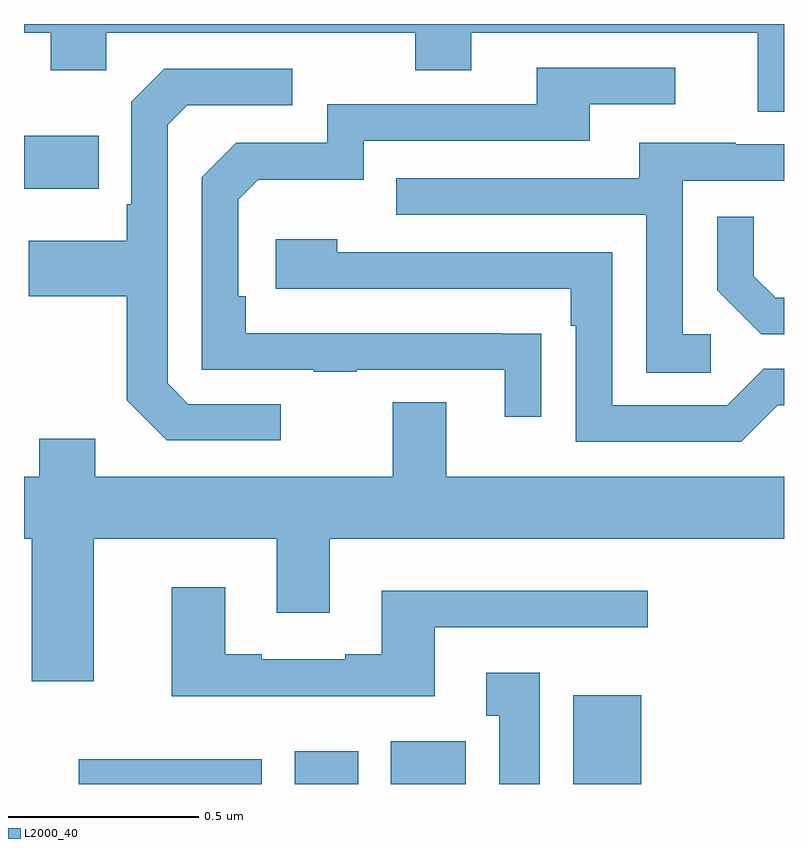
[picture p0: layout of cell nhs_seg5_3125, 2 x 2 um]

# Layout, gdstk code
import gdstk
lib = gdstk.Library(unit=1e-6, precision=1e-09)
def R(c, l, rs):  # rectangles x0, y0, x1, y1
    for r in rs: c.add(gdstk.rectangle(r[:2], r[2:], *l))
def P(c, l, *ps):  # polygons
    for p in ps: c.add(gdstk.Polygon(p, *l))
L2000_40 = (2000, 40)

nhs_seg5_3125 = lib.new_cell('nhs_seg5_3125')
R(nhs_seg5_3125, L2000_40, [(153.144,838.799,153.625,838.864), (153.713,838.799,153.88,838.885), (153.965,838.799,154.162,838.912), (154.445,838.799,154.624,839.032), (153,840.365,153.197,840.505)])
P(nhs_seg5_3125, L2000_40, [(153,840.776),(153.07,840.776),(153.07,840.677),(153.216,840.677),(153.216,840.776),(154.03,840.776),(154.03,840.677),(154.177,840.677),(154.177,840.776),(154.931,840.776),(154.931,840.568),(155,840.568),(155,840.799),(153,840.799)],
  [(154.361,839.984),(154.259,839.984),(154.259,839.985),(153.584,839.985),(153.584,840.082),(153.564,840.082),(153.564,840.336),(153.617,840.389),(153.894,840.389),(153.894,840.492),(154.489,840.492),(154.489,840.588),(154.714,840.588),(154.714,840.684),(154.349,840.684),(154.349,840.588),(153.798,840.588),(153.798,840.486),(153.558,840.486),(153.468,840.396),(153.468,839.889),(153.763,839.889),(153.763,839.884),(153.875,839.884),(153.875,839.889),(154.265,839.889),(154.265,839.766),(154.361,839.766)],
  [(153.676,839.799),(153.432,839.799),(153.378,839.853),(153.378,840.534),(153.429,840.585),(153.706,840.585),(153.706,840.681),(153.369,840.681),(153.282,840.594),(153.282,840.325),(153.27,840.325),(153.27,840.229),(153.013,840.229),(153.013,840.082),(153.27,840.082),(153.27,839.809),(153.375,839.703),(153.676,839.703)],
  [(154.807,839.982),(154.734,839.982),(154.734,840.387),(155,840.387),(155,840.483),(154.873,840.483),(154.873,840.487),(154.619,840.487),(154.619,840.393),(153.979,840.393),(153.979,840.297),(154.638,840.297),(154.638,839.881),(154.807,839.881)],
  [(155,840.078),(154.978,840.078),(154.921,840.135),(154.921,840.292),(154.824,840.292),(154.824,840.098),(154.94,839.982),(155,839.982)],
  [(154.983,839.796),(155,839.796),(155,839.892),(154.947,839.892),(154.851,839.796),(154.548,839.796),(154.548,840.198),(153.824,840.198),(153.824,840.232),(153.663,840.232),(153.663,840.102),(154.439,840.102),(154.439,840.005),(154.452,840.005),(154.452,839.7),(154.887,839.7)],
  [(153.184,839.444),(153.665,839.444),(153.665,839.25),(153.805,839.25),(153.805,839.444),(155,839.444),(155,839.608),(154.111,839.608),(154.111,839.803),(153.971,839.803),(153.971,839.608),(153.187,839.608),(153.187,839.707),(153.04,839.707),(153.04,839.608),(153,839.608),(153,839.444),(153.02,839.444),(153.02,839.07),(153.184,839.07)],
  [(154.081,839.211),(154.642,839.211),(154.642,839.308),(153.941,839.308),(153.941,839.14),(153.845,839.14),(153.845,839.127),(153.625,839.127),(153.625,839.14),(153.529,839.14),(153.529,839.317),(153.389,839.317),(153.389,839.03),(154.081,839.03)],
  [(154.357,839.092),(154.217,839.092),(154.217,838.979),(154.25,838.979),(154.25,838.799),(154.357,838.799)])

lib.write_gds('nhs_seg5_3125.gds')
